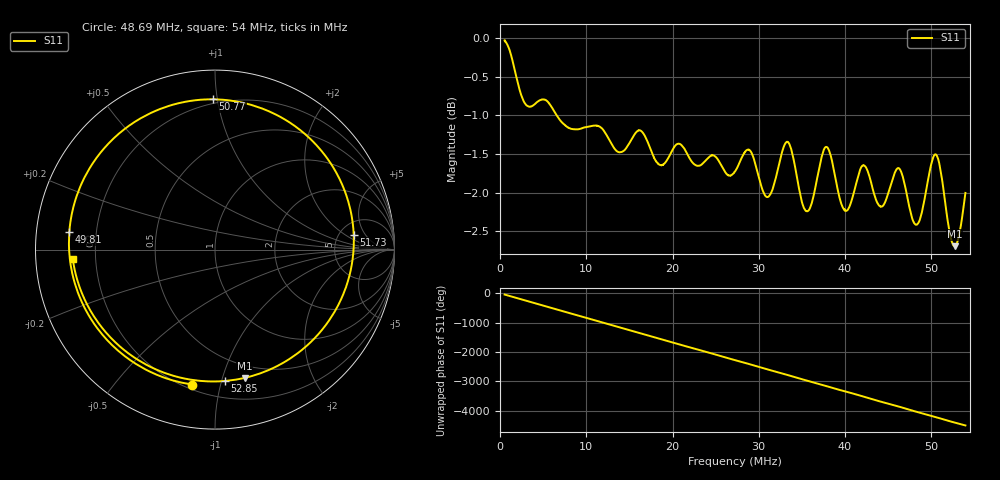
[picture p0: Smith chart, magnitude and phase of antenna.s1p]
! Calibrated high-resolution NanoVNA antenna measurement
# Hz S RI R 50
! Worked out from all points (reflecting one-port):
!   40001 points, 500 kHz to 54 MHz, reference 50 ohm
!   lowest |S11| = -2.7 dB at 52.74 MHz (marker M1), VSWR 6.51, Z = 19.1 - j59.1 ohm
!   phase of S11 starts at -42 deg and turns -4454 deg over the sweep
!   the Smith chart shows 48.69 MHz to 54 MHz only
!   S11 on the Smith chart (normalised r, x): 48.69 MHz: 0.23, -0.82; 49.81 MHz: 0.10, +0.06; 50.77 MHz: 0.17, +0.97; 51.73 MHz: 6.78, +2.83; 52.85 MHz: 0.32, -1.02; 54 MHz: 0.11, -0.03
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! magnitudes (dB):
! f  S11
! 500 kHz  0.0
! 2.886 MHz  -0.8
! 7.188 MHz  -1.1
! 11.5 MHz  -1.1
! 13.88 MHz  -1.5
! 16.1 MHz  -1.2
! 18.56 MHz  -1.6
! 20.56 MHz  -1.4
! 27.25 MHz  -1.7
! 28.94 MHz  -1.4
! 31.05 MHz  -2.1
! 33.07 MHz  -1.4
! 33.94 MHz  -1.5
! 35.47 MHz  -2.2
! 37.83 MHz  -1.4
! 39.7 MHz  -2.2
! 40.62 MHz  -2.2
! 42.16 MHz  -1.6
! 44.05 MHz  -2.2
! 46.16 MHz  -1.7
! 47.31 MHz  -2.1
! 48.69 MHz  -2.4
! 49.81 MHz  -1.7
! 50.77 MHz  -1.5
! 51.73 MHz  -2.2
! 52.74 MHz  -2.7
! 52.85 MHz  -2.7
! 54 MHz  -2.0
